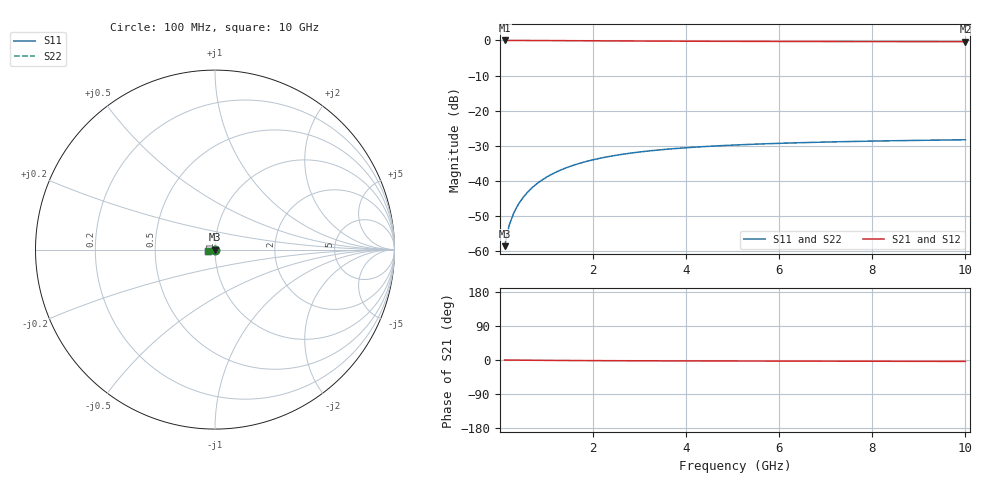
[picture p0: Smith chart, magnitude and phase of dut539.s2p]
! Touchstone file exported from HFSS 2024.1.0
!  File:  C:/UserFiles/LocalFiles/RDL_TSV_Batchsim/temp_TSV1_539_1779705222.aedt
!  Generated:  06:38:58 PM May 25, 2026
!  Design:  TSV1
!  Project:  temp_TSV1_539_1779705222
!  Setup:  Setup1
!  Solution:  Sweep
! Variables:
!  dtsv = 14.42um
!  hbump = 3um
!  htsv = 53.39um
!  lrdl = 252.1521522um
!  p = 40
!  p1 = 54.81um
!  t = 500um
!  trdl = 3um
!  wrdl = 24.89489489um
# GHz S MA R 50.000000
! Terminal data exported
! Port[1] = TSV22_T1
! Port[2] = TSV22_T2
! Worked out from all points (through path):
!   100 points, 100 MHz to 10 GHz, reference 50 ohm
!   highest |S21| = 0.00 dB at 100 MHz (marker M1); lowest = -0.3 dB at 10 GHz (marker M2)
!   lowest |S11| = -58.6 dB at 100 MHz (marker M3), VSWR 1.00, Z = 50 - j0.118 ohm
!   |S11| at or under -10 dB: start of sweep to end of sweep
!   |S22| runs from -58.6 to -28.3 dB; largest |S21 - S12| = 5.2e-15
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0.1  0.001181 -88.7  0.9999 -0.1  0.9999 -0.1  0.001181 -88.7
! Gamma 0 0 0 0
! Port Impedance 50 0 50 0
0.2  0.002361 -92.0  0.9998 -0.2  0.9998 -0.2  0.002361 -92.0
0.3  0.003539 -94.4  0.9995 -0.3  0.9995 -0.3  0.003539 -94.4
0.4  0.004709 -96.5  0.9993 -0.4  0.9993 -0.4  0.004709 -96.5
0.5  0.005866 -98.6  0.9989 -0.5  0.9989 -0.5  0.005866 -98.6
0.6  0.007006 -100.6  0.9985 -0.6  0.9985 -0.6  0.007006 -100.6
0.7  0.008125 -102.5  0.998 -0.7  0.998 -0.7  0.008125 -102.5
0.8  0.009219 -104.4  0.9975 -0.8  0.9975 -0.8  0.009219 -104.4
0.9  0.01029 -106.2  0.9969 -0.9  0.9969 -0.9  0.01029 -106.2
1.1  0.01234 -109.8  0.9956 -1.0  0.9956 -1.0  0.01234 -109.8
1.4  0.01519 -114.8  0.9934 -1.3  0.9934 -1.3  0.01519 -114.8
1.6  0.01693 -117.9  0.9919 -1.4  0.9919 -1.4  0.01693 -117.9
1.8  0.01854 -120.8  0.9903 -1.5  0.9903 -1.5  0.01854 -120.8
2.1  0.02072 -125.0  0.9879 -1.7  0.9879 -1.7  0.02072 -125.0
2.5  0.02324 -129.9  0.9849 -1.9  0.9849 -1.9  0.02324 -129.9
2.9  0.02537 -134.2  0.9821 -2.0  0.9821 -2.0  0.02537 -134.2
3.4  0.02758 -139.0  0.979 -2.2  0.979 -2.2  0.02758 -139.0
4.2  0.03034 -145.4  0.9748 -2.4  0.9748 -2.4  0.03034 -145.4
5.1  0.03262 -151.3  0.9711 -2.6  0.9711 -2.6  0.03262 -151.3
6.7  0.03541 -159.5  0.9664 -3.0  0.9664 -3.0  0.03541 -159.5
8.4  0.03733 -166.1  0.9631 -3.4  0.9631 -3.4  0.03733 -166.1
10  0.03862 -171.3  0.961 -3.7  0.961 -3.7  0.03862 -171.3
